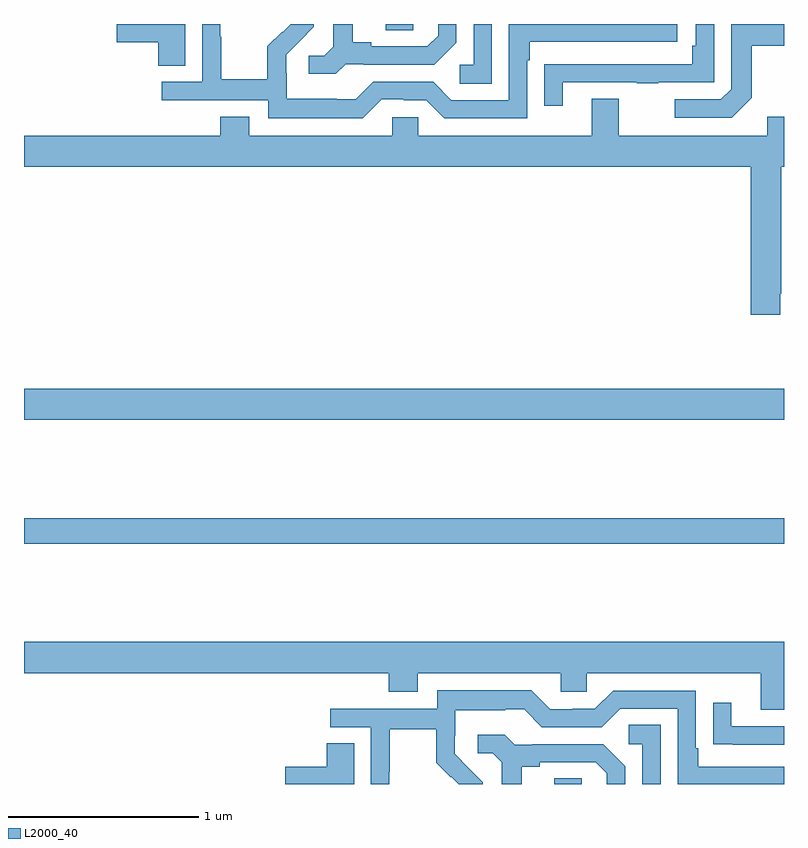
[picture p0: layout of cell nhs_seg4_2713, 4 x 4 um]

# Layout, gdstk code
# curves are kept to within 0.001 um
import gdstk
lib = gdstk.Library(unit=1e-6, precision=1e-09)
def R(c, l, rs):  # rectangles x0, y0, x1, y1
    for r in rs: c.add(gdstk.rectangle(r[:2], r[2:], *l))
def P(c, l, *ps):  # polygons
    for p in ps: c.add(gdstk.Polygon(p, *l))
L2000_40 = (2000, 40)

nhs_seg4_2713 = lib.new_cell('nhs_seg4_2713')
R(nhs_seg4_2713, L2000_40, [(255.791,798.9,255.936,798.929), (253,800.164,257,800.3), (253,800.816,257,800.98), (254.903,802.867,255.048,802.9)])
P(nhs_seg4_2713, L2000_40, [(254.694,802.689),(254.788,802.689),(254.788,802.686),(255.16,802.686),(255.276,802.802),(255.276,802.9),(255.179,802.9),(255.179,802.839),(255.122,802.782),(254.827,802.782),(254.827,802.805),(254.731,802.805),(254.731,802.9),(254.627,802.9),(254.627,802.781),(254.58,802.734),(254.499,802.734),(254.499,802.637),(254.642,802.637)],
  [(255.462,802.9),(255.366,802.9),(255.366,802.686),(255.294,802.686),(255.294,802.585),(255.462,802.585)],
  [(253.849,802.9),(253.488,802.9),(253.488,802.805),(253.706,802.805),(253.706,802.681),(253.849,802.681)],
  [(256.831,802.513),(256.831,802.786),(257,802.786),(257,802.9),(256.722,802.9),(256.722,802.557),(256.668,802.503),(256.425,802.503),(256.425,802.407),(256.725,802.407)],
  [(255.835,802.593),(256.225,802.593),(256.225,802.588),(256.337,802.588),(256.337,802.593),(256.632,802.593),(256.632,802.9),(256.536,802.9),(256.536,802.786),(256.516,802.786),(256.516,802.689),(255.841,802.689),(255.841,802.688),(255.739,802.688),(255.739,802.47),(255.835,802.47)],
  [(254.883,802.503),(254.999,802.503),(254.999,802.5),(255.117,802.5),(255.213,802.404),(255.648,802.404),(255.648,802.709),(255.661,802.709),(255.661,802.806),(256.438,802.806),(256.438,802.9),(255.552,802.9),(255.552,802.5),(255.249,802.5),(255.153,802.596),(254.838,802.596),(254.745,802.503),(254.645,802.503),(254.645,802.507),(254.382,802.507),(254.382,802.641),(254.38,802.641),(254.38,802.738),(254.526,802.886),(254.526,802.9),(254.404,802.9),(254.361,802.857),(254.358,802.86),(254.281,802.783),(254.281,802.609),(254.037,802.609),(254.037,802.832),(254.034,802.832),(254.034,802.9),(253.938,802.9),(253.938,802.596),(253.725,802.596),(253.725,802.5),(254.286,802.5),(254.286,802.403),(254.783,802.403)],
  [(256.981,801.481),(256.986,801.481),(256.986,802.148),(257,802.148),(257,802.411),(256.913,802.411),(256.913,802.312),(256.129,802.312),(256.129,802.507),(255.989,802.507),(255.989,802.312),(255.075,802.312),(255.075,802.41),(254.937,802.41),(254.937,802.312),(254.185,802.312),(254.185,802.411),(254.033,802.411),(254.033,802.312),(253,802.312),(253,802.148),(256.826,802.148),(256.826,801.369),(256.981,801.369)],
  [(257,799.648),(253,799.648),(253,799.484),(254.921,799.484),(254.921,799.385),(255.073,799.385),(255.073,799.484),(255.825,799.484),(255.825,799.386),(255.963,799.386),(255.963,799.484),(256.877,799.484),(256.877,799.29),(257,799.29)],
  [(254.922,798.964),(254.925,798.964),(254.925,799.188),(255.169,799.188),(255.169,799.013),(255.246,798.936),(255.249,798.939),(255.289,798.9),(255.414,798.9),(255.414,798.91),(255.268,799.058),(255.268,799.155),(255.27,799.155),(255.27,799.289),(255.533,799.289),(255.533,799.293),(255.633,799.293),(255.726,799.2),(256.041,799.2),(256.137,799.296),(256.44,799.296),(256.44,798.9),(257,798.9),(257,798.99),(256.549,798.99),(256.549,799.087),(256.536,799.087),(256.536,799.392),(256.101,799.392),(256.005,799.296),(255.887,799.296),(255.887,799.293),(255.771,799.293),(255.671,799.393),(255.174,799.393),(255.174,799.296),(254.613,799.296),(254.613,799.2),(254.826,799.2),(254.826,798.9),(254.922,798.9)],
  [(257,799.203),(256.723,799.203),(256.723,799.327),(256.627,799.327),(256.627,799.108),(256.729,799.108),(256.729,799.107),(257,799.107)],
  [(256.35,799.211),(256.182,799.211),(256.182,799.11),(256.254,799.11),(256.254,798.9),(256.35,798.9)],
  [(255.619,798.992),(255.715,798.992),(255.715,799.014),(256.01,799.014),(256.067,798.957),(256.067,798.9),(256.164,798.9),(256.164,798.994),(256.048,799.11),(255.676,799.11),(255.676,799.107),(255.582,799.107),(255.53,799.159),(255.387,799.159),(255.387,799.062),(255.468,799.062),(255.515,799.015),(255.515,798.9),(255.619,798.9)],
  [(254.737,799.115),(254.594,799.115),(254.594,798.992),(254.376,798.992),(254.376,798.9),(254.737,798.9)])

lib.write_gds('nhs_seg4_2713.gds')
